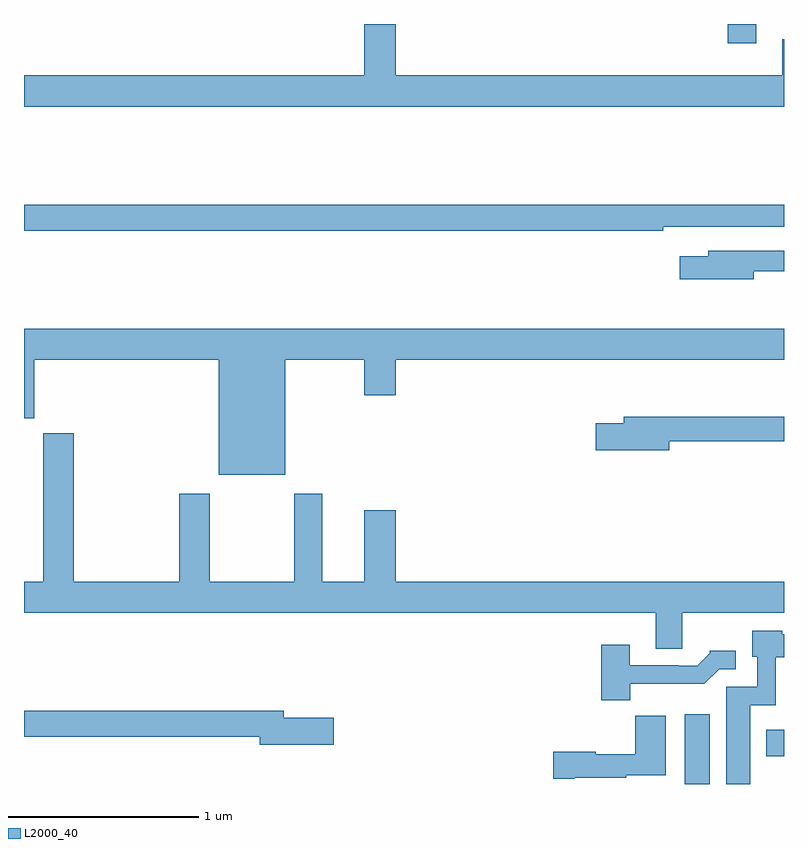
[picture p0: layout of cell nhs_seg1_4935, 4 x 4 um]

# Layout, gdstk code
import gdstk
lib = gdstk.Library(unit=1e-6, precision=1e-09)
def R(c, l, rs):  # rectangles x0, y0, x1, y1
    for r in rs: c.add(gdstk.rectangle(r[:2], r[2:], *l))
def P(c, l, *ps):  # polygons
    for p in ps: c.add(gdstk.Polygon(p, *l))
L2000_40 = (2000, 40)

nhs_seg1_4935 = lib.new_cell('nhs_seg1_4935')
R(nhs_seg1_4935, L2000_40, [(382.478,516.199,382.609,516.565), (382.907,516.344,383,516.484), (382.703,520.097,382.855,520.199)])
P(nhs_seg1_4935, L2000_40, [(383,520.118),(382.991,520.118),(382.991,519.928),(380.956,519.928),(380.956,520.199),(380.792,520.199),(380.792,519.928),(379,519.928),(379,519.764),(383,519.764)],
  [(382.364,519.132),(383,519.132),(383,519.248),(379,519.248),(379,519.112),(382.364,519.112)],
  [(382.84,518.898),(383,518.898),(383,519.006),(382.601,519.006),(382.601,518.977),(382.452,518.977),(382.452,518.855),(382.84,518.855)],
  [(380.374,518.432),(380.792,518.432),(380.792,518.244),(380.956,518.244),(380.956,518.432),(383,518.432),(383,518.596),(379,518.596),(379,518.123),(379.054,518.123),(379.054,518.432),(380.024,518.432),(380.024,517.826),(380.374,517.826)],
  [(382.396,518.002),(383,518.002),(383,518.131),(382.157,518.131),(382.157,518.097),(382.008,518.097),(382.008,517.955),(382.396,517.955)],
  [(382.465,517.1),(383,517.1),(383,517.264),(380.956,517.264),(380.956,517.639),(380.792,517.639),(380.792,517.264),(380.569,517.264),(380.569,517.726),(380.422,517.726),(380.422,517.264),(379.977,517.264),(379.977,517.726),(379.817,517.726),(379.817,517.264),(379.262,517.264),(379.262,518.044),(379.102,518.044),(379.102,517.264),(379,517.264),(379,517.1),(382.325,517.1),(382.325,516.91),(382.465,516.91)],
  [(382.822,516.614),(382.956,516.614),(382.956,516.866),(383,516.866),(383,516.988),(382.992,516.988),(382.992,517.006),(382.832,517.006),(382.832,516.87),(382.86,516.87),(382.86,516.711),(382.697,516.711),(382.697,516.199),(382.822,516.199)],
  [(382.192,516.726),(382.581,516.726),(382.659,516.804),(382.747,516.804),(382.747,516.901),(382.608,516.901),(382.608,516.886),(382.544,516.822),(382.445,516.822),(382.445,516.825),(382.189,516.825),(382.189,516.931),(382.037,516.931),(382.037,516.641),(382.192,516.641)],
  [(380.629,516.548),(380.368,516.548),(380.368,516.584),(379,516.584),(379,516.448),(380.24,516.448),(380.24,516.406),(380.629,516.406)],
  [(381.898,516.233),(382.17,516.233),(382.17,516.245),(382.378,516.245),(382.378,516.559),(382.216,516.559),(382.216,516.355),(382.008,516.355),(382.008,516.368),(381.786,516.368),(381.786,516.226),(381.898,516.226)])

lib.write_gds('nhs_seg1_4935.gds')
